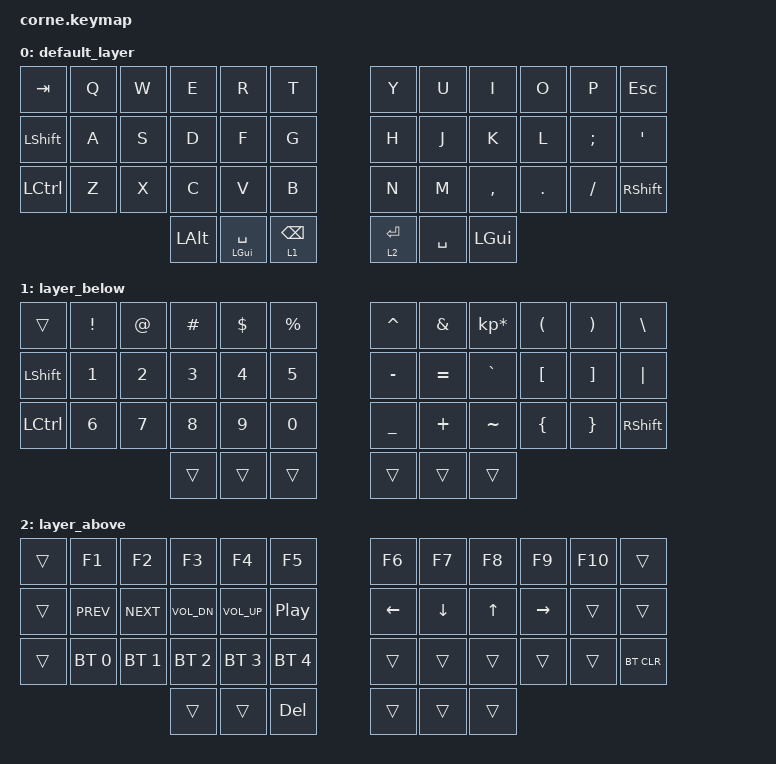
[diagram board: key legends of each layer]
/*
 * Copyright (c) 2020 The ZMK Contributors
 *
 * SPDX-License-Identifier: MIT
 */

#include <behaviors.dtsi>
#include <dt-bindings/zmk/keys.h>
#include <dt-bindings/zmk/bt.h>

/ {
        behaviors {
                tp: tap_preferred {
                        compatible = "zmk,behavior-hold-tap";
                        label = "TAP_PREFERRED";
                        #binding-cells = <2>;
                        tapping-term-ms = <150>;
                        quick-tap-ms = <0>;
                        flavor = "tap-preferred";
                        bindings = <&kp>, <&kp>;
                }; 
        };

        keymap {
                compatible = "zmk,keymap";

                default_layer {
// -----------------------------------------------------------------------------------------
// | TAB  |  Q  |  W  |  E  |  R  |    T    |   |  Y  |  U   |  I  |  O  |  P  |  ESC |
// | SHFT |  A  |  S  |  D  |  F  |    G    |   |  H  |  J   |  K  |  L  |  ;  |   '  |
// | CTRL |  Z  |  X  |  C  |  V  |    B    |   |  N  |  M   |  ,  |  .  |  /  | SHFT |
//                    | ALT | GUI |LWR/BSPC |   | RSE/RET | SPACE  | RSE |
                        bindings = <
   &kp TAB   &kp Q &kp W &kp E &kp R &kp T      &kp Y &kp U  &kp I     &kp O   &kp P    &kp ESC
   &kp LSHFT &kp A &kp S &kp D &kp F &kp G      &kp H &kp J  &kp K     &kp L   &kp SEMI &kp SQT
   &kp LCTRL &kp Z &kp X &kp C &kp V &kp B      &kp N &kp M  &kp COMMA &kp DOT &kp FSLH &kp RSHFT 
              &kp LALT &tp LGUI SPACE &lt 1 BSPC      &lt 2 RET &kp SPACE &kp LGUI
                        >;
                };

                layer_below {
// -----------------------------------------------------------------------------------------
// |      |  !  |  @  |  #  |  $  |    %     |   |  ^  |  &  |  *  |  (  |  )  |   \   |
// | SHFT |  1  |  2  |  3  |  4  |    5     |   |  -  |  =  |  `  |  [  |  ]  |  "|"  |
// | CTRL |  6  |  7  |  8  |  9  |    0     |   |  _  |  +  |  ~  |  {  |  }  | RSHFT |
//                     | GUI |     | ALT/ENT |   | HYPER/SPACE | BKSP |    |
                        bindings = <
   &trans    &kp EXCL &kp AT &kp HASH &kp DLLR &kp PRCNT   &kp CARET  &kp AMPS  &kp KP_MULTIPLY &kp LPAR &kp RPAR &kp BSLH
   &kp LSHFT    &kp N1   &kp N2 &kp N3   &kp N4   &kp N5      &kp MINUS  &kp EQUAL &kp GRAVE       &kp LBKT &kp RBKT &kp PIPE
   &kp LCTRL    &kp N6   &kp N7 &kp N8   &kp N9   &kp N0      &kp UNDER  &kp PLUS  &kp TILDE       &kp LBRC &kp RBRC &kp RSHFT
                                   &trans &trans  &trans      &trans &trans  &trans
                        >;
                };

                layer_above {
// -----------------------------------------------------------------------------------------
// |       |   F1   |   F2   |   F3   |   F4   |   F5  |         |   F6   |   F7   |   F8   |   F9   |   F10 |          |
// |       | Prev | Next | Vol - | Vol + | Play/Pause  |         | LFT    | DWN    |  UP    | RGT    |       |          |
// |       | BT1 | BT2 | BT3 | BT4 | BT5 |             |         |        |        |        |        |       |  BTCLR   |
//                                   |     |     |DELETE|         |        |        |        |
                        bindings = <
   &trans     &kp F1        &kp F2       &kp F3       &kp F4       &kp F5          &kp F6   &kp F7   &kp F8 &kp F9    &kp F10 &trans
   &trans     &kp C_PREV    &kp C_NEXT   &kp C_VOL_DN &kp C_VOL_UP &kp C_PP        &kp LEFT &kp DOWN &kp UP &kp RIGHT &trans &trans
   &trans     &bt BT_SEL 0  &bt BT_SEL 1 &bt BT_SEL 2 &bt BT_SEL 3 &bt BT_SEL 4    &trans   &trans   &trans &trans    &trans &bt BT_CLR
                          	         &trans       &trans       &kp DELETE       &trans   &trans   &trans
                        >;
                };
        };
};
